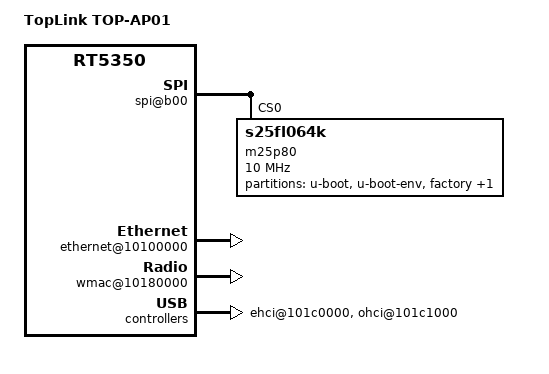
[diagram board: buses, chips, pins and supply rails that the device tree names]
//
// Device tree definition for TopLink TOP-AP01 router.
//
// This is free software, licensed under the GNU General Public License v2.
// See /LICENSE for more information.
//
// -- Luis Soltero <lsoltero@globalmarinenet.com>
// -- Michel Stempin <michel.stempin@wanadoo.fr>
// -- Felix Kaechele <felix@fetzig.org>
//

/dts-v1/;

/include/ "rt5350.dtsi"

/ {
	compatible = "TOP-AP01", "ralink,rt5350-soc";
	model = "TopLink TOP-AP01";

	palmbus@10000000 {
		sysc@0 {
			ralink,pinmux = "i2c", "spi", "uartlite", "jtag", "mdio", "sdram", "rgmii";
			ralink,uartmux = "gpio";
			ralink,wdtmux = <1>;
		};

		gpio0: gpio@600 {
			status = "okay";
		};

		spi@b00 {
			status = "okay";
			m25p80@0 {
				#address-cells = <1>;
				#size-cells = <1>;
				compatible = "s25fl064k";
				reg = <0 0>;
				linux,modalias = "m25p80", "s25fl064k";
				spi-max-frequency = <10000000>;

		partition@0 {
			label = "u-boot";
			reg = <0x0 0x30000>;
			read-only;
		};

		partition@30000 {
			label = "u-boot-env";
			reg = <0x30000 0x10000>;
			read-only;
		};

		factory: partition@40000 {
			label = "factory";
			reg = <0x40000 0x10000>;
			read-only;
		};

		partition@50000 {
			label = "firmware";
			reg = <0x50000 0x7b0000>;
		};
			};
		};
	};

	ethernet@10100000 {
		status = "okay";
	};

	esw@10110000 {
		status = "okay";
		ralink,portmap = <0x2f>;
	};

	wmac@10180000 {
		status = "okay";
		ralink,mtd-eeprom = <&factory 0>;
		ralink,led-polarity = <1>;
	};

	ehci@101c0000 {
		status = "okay";
	};

	ohci@101c1000 {
		status = "okay";
	};
};
